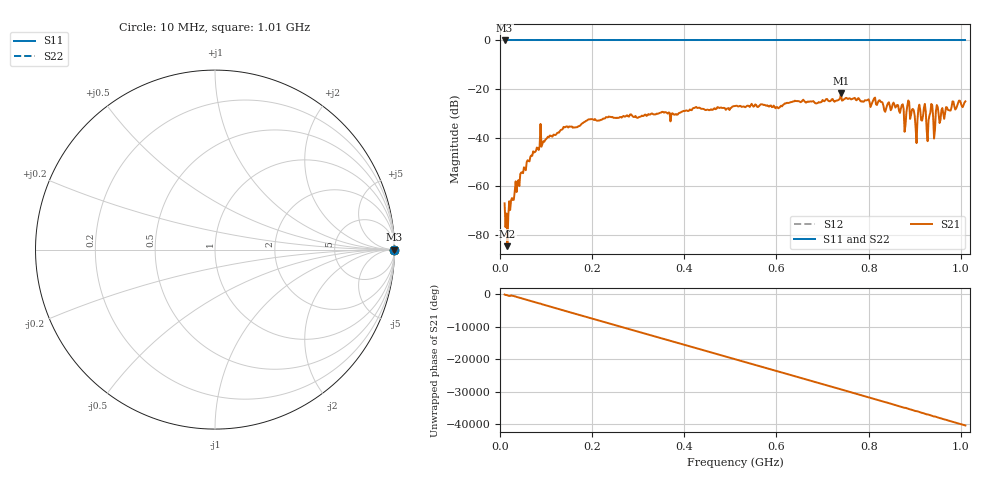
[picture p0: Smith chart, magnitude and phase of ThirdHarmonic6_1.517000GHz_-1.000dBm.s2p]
! 8/16/2025 5:53:48 PM
! C:\ANRITSUVNA\TEMP\TEMP.S2P
! CHANNEL.1
! TR.MEASUREMENT
! RAW.DATA
! RF.CORRECTION.OFF
! AVERAGING.OFF
! IF.BANDWIDTH: 5KHZ
! SWEEPTYPE:  FREQ.SWEEP(Linear)
! Reference Plane Port Info
! PORT:  PORT1  PORT2
! DISTANCE:  0  m  0  m
! TIME:  0  s  0  s
! PHASE.OFFSET:  0  deg.  0  deg.
! LOSS:  0  dB  0  dB
! REF.LOSS:  0  dB  0  dB
! REF.FREQ:  0  Hz  0  Hz
! Power Info
! POWER:  -20  dBm  -20  dBm
! EFF.POWER:  -20  dBm  -20  dBm
! SOURCE.ATTEN:  0  dB  0  dB
! TEST.ATTEN:  0  dB  0  dB
# GHZ S RI R 50.0
! FREQ.GHZ  S11RE  S11IM  S21RE  S21IM  S12RE  S12IM  S22RE  S22IM
!; PortSelection: Port_12
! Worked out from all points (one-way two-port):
!   501 points, 10 MHz to 1.01 GHz, reference 50 ohm
!   highest |S21| = -21.75 dB at 740 MHz (marker M1); lowest = -84.6 dB at 16 MHz (marker M2)
!   lowest |S11| = 0.0 dB at 10 MHz (marker M3)
!   |S11| at or under -10 dB: nowhere
!   |S22| runs from 0.0 to 0.0 dB; largest |S21 - S12| = 1.1
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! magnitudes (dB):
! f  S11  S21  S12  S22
! 10 MHz  0.0  -67.0  0.0  0.0
! 16 MHz  0.0  -84.6  0.0  0.0
! 48 MHz  0.0  -54.2  0.0  0.0
! 84 MHz  0.0  -45.1  0.0  0.0
! 178 MHz  0.0  -34.2  0.0  0.0
! 344 MHz  0.0  -30.0  0.0  0.0
! 510 MHz  0.0  -27.0  0.0  0.0
! 678 MHz  0.0  -25.0  0.0  0.0
! 740 MHz  0.0  -21.8  0.0  0.0
! 844 MHz  0.0  -25.4  0.0  0.0
! 872 MHz  0.0  -26.6  0.0  0.0
! 880 MHz  0.0  -34.9  0.0  0.0
! 888 MHz  0.0  -25.4  0.0  0.0
! 896 MHz  0.0  -28.1  0.0  0.0
! 902 MHz  0.0  -36.0  0.0  0.0
! 910 MHz  0.0  -26.4  0.0  0.0
! 920 MHz  0.0  -27.6  0.0  0.0
! 930 MHz  0.0  -32.9  0.0  0.0
! 936 MHz  0.0  -26.1  0.0  0.0
! 944 MHz  0.0  -36.7  0.0  0.0
! 950 MHz  0.0  -27.5  0.0  0.0
! 1.01 GHz  0.0  -25.1  0.0  0.0
